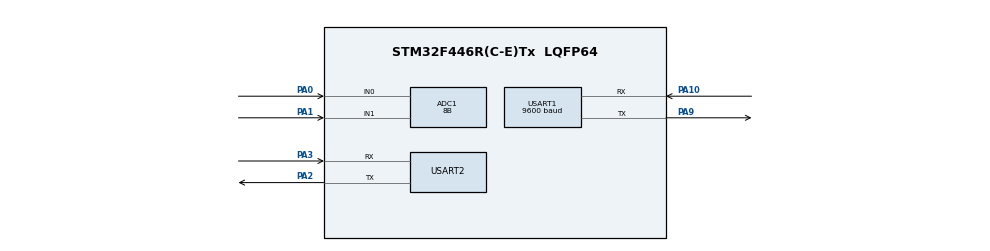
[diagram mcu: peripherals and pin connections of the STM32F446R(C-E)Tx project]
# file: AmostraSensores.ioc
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ADC1.Channel-0\#ChannelRegularConversion=ADC_CHANNEL_0
ADC1.Channel-3\#ChannelRegularConversion=ADC_CHANNEL_1
ADC1.ContinuousConvMode=DISABLE
ADC1.DMAContinuousRequests=ENABLE
ADC1.EOCSelection=ADC_EOC_SEQ_CONV
ADC1.ExternalTrigConv=ADC_SOFTWARE_START
ADC1.NbrOfConversion=2
ADC1.NbrOfConversionFlag=1
ADC1.Rank-0\#ChannelRegularConversion=1
ADC1.Rank-3\#ChannelRegularConversion=2
ADC1.Resolution=ADC_RESOLUTION_8B
ADC1.SamplingTime-0\#ChannelRegularConversion=ADC_SAMPLETIME_3CYCLES
ADC1.SamplingTime-3\#ChannelRegularConversion=ADC_SAMPLETIME_3CYCLES
ADC1.ScanConvMode=ENABLE
ADC1.master=1
Dma.ADC1.0.Direction=DMA_PERIPH_TO_MEMORY
Dma.ADC1.0.FIFOMode=DMA_FIFOMODE_DISABLE
Dma.ADC1.0.Instance=DMA2_Stream0
Dma.ADC1.0.MemDataAlignment=DMA_MDATAALIGN_BYTE
Dma.ADC1.0.MemInc=DMA_MINC_ENABLE
Dma.ADC1.0.Mode=DMA_NORMAL
Dma.ADC1.0.PeriphDataAlignment=DMA_PDATAALIGN_BYTE
Dma.ADC1.0.PeriphInc=DMA_PINC_DISABLE
Dma.ADC1.0.Priority=DMA_PRIORITY_LOW
Dma.Request0=ADC1
Dma.Request1=USART1_RX
Dma.Request2=USART1_TX
Dma.USART1_RX.1.Direction=DMA_PERIPH_TO_MEMORY
Dma.USART1_RX.1.FIFOMode=DMA_FIFOMODE_ENABLE
Dma.USART1_RX.1.FIFOThreshold=DMA_FIFO_THRESHOLD_FULL
Dma.USART1_RX.1.Instance=DMA2_Stream2
Dma.USART1_RX.1.MemBurst=DMA_MBURST_SINGLE
Dma.USART1_RX.1.MemDataAlignment=DMA_MDATAALIGN_BYTE
Dma.USART1_RX.1.MemInc=DMA_MINC_ENABLE
Dma.USART1_RX.1.Mode=DMA_NORMAL
Dma.USART1_RX.1.PeriphBurst=DMA_PBURST_SINGLE
Dma.USART1_RX.1.PeriphDataAlignment=DMA_PDATAALIGN_BYTE
Dma.USART1_RX.1.PeriphInc=DMA_PINC_DISABLE
Dma.USART1_RX.1.Priority=DMA_PRIORITY_LOW
Dma.USART1_TX.2.Direction=DMA_MEMORY_TO_PERIPH
Dma.USART1_TX.2.FIFOMode=DMA_FIFOMODE_ENABLE
Dma.USART1_TX.2.FIFOThreshold=DMA_FIFO_THRESHOLD_FULL
Dma.USART1_TX.2.Instance=DMA2_Stream7
Dma.USART1_TX.2.MemBurst=DMA_MBURST_SINGLE
Dma.USART1_TX.2.MemDataAlignment=DMA_MDATAALIGN_BYTE
Dma.USART1_TX.2.MemInc=DMA_MINC_ENABLE
Dma.USART1_TX.2.Mode=DMA_NORMAL
Dma.USART1_TX.2.PeriphBurst=DMA_PBURST_SINGLE
Dma.USART1_TX.2.PeriphDataAlignment=DMA_PDATAALIGN_BYTE
Dma.USART1_TX.2.PeriphInc=DMA_PINC_DISABLE
Dma.USART1_TX.2.Priority=DMA_PRIORITY_LOW
Mcu.Family=STM32F4
Mcu.Name=STM32F446R(C-E)Tx
Mcu.Package=LQFP64
NVIC.ADC_IRQn=true\:0\:0\:false\:false\:true\:true\:true
NVIC.DMA2_Stream0_IRQn=true\:0\:0\:false\:false\:true\:false\:true
NVIC.DMA2_Stream2_IRQn=true\:0\:0\:false\:false\:true\:false\:true
NVIC.DMA2_Stream7_IRQn=true\:0\:0\:false\:false\:true\:false\:true
NVIC.PriorityGroup=NVIC_PRIORITYGROUP_4
NVIC.TIM1_UP_TIM10_IRQn=true\:0\:0\:false\:false\:true\:true\:true
NVIC.TIM2_IRQn=true\:0\:0\:false\:false\:true\:true\:true
NVIC.USART1_IRQn=true\:0\:0\:false\:false\:true\:true\:true
PA0-WKUP.Signal=ADCx_IN0
PA1.Signal=ADCx_IN1
PA10.Mode=Asynchronous
PA10.Signal=USART1_RX
PA2.Mode=Asynchronous
PA2.Signal=USART2_TX
PA3.Mode=Asynchronous
PA3.Signal=USART2_RX
PA9.Mode=Asynchronous
PA9.Signal=USART1_TX
ProjectManager.HeapSize=0x200
ProjectManager.StackSize=0x400
ProjectManager.TargetToolchain=STM32CubeIDE
RCC.CortexFreq_Value=16000000
RCC.USBFreq_Value=96000000
RCC.VCOOutputFreq_Value=192000000
SH.ADCx_IN0.0=ADC1_IN0,IN0
SH.ADCx_IN1.0=ADC1_IN1,IN1
TIM10.Period=99
TIM10.Prescaler=8399
TIM2.Period=499
TIM2.Prescaler=15999
TIM2.TIM_MasterOutputTrigger=TIM_TRGO_RESET
USART1.BaudRate=9600
USART1.VirtualMode=VM_ASYNC
USART2.VirtualMode=VM_ASYNC
VP_TIM10_VS_ClockSourceINT.Mode=Enable_Timer
VP_TIM2_VS_ClockSourceINT.Mode=Internal
board=custom

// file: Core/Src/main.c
/* USER CODE BEGIN Header */
/**
  ******************************************************************************
  * @file           : main.c
  * @brief          : Main program body
  ******************************************************************************

  */
/* USER CODE END Header */

#include "main.h"
#include "adc.h"
#include "dma.h"
#include "tim.h"
#include "usart.h"
#include "gpio.h"

/* USER CODE BEGIN Includes */
#include <stdio.h>
#include <string.h>
/* USER CODE END Includes */

/* USER CODE BEGIN PD */
#define bufferSize 1
#define SerialTimeOut 10
#define NumberOfConversions 2
#define TAM_MSG 100
/* USER CODE END PD */

/* USER CODE BEGIN PV */
uint8_t pData;
uint8_t adc_values[NumberOfConversions]; //! Vetor para a armazenar o valor convertido do AD para cada respectivo canal
uint32_t msg[TAM_MSG];
/* USER CODE END PV */

void SystemClock_Config(void);

int main(void)
{

  /* MCU Configuration--------------------------------------------------------*/

  /* Reset of all peripherals, Initializes the Flash interface and the Systick. */
  HAL_Init();

  /* Configure the system clock */
  SystemClock_Config();

  /* Initialize all configured peripherals */
  MX_GPIO_Init();
  MX_DMA_Init();
  MX_TIM10_Init();
  MX_USART2_UART_Init();
  MX_ADC1_Init();
  MX_TIM2_Init();
  MX_USART1_UART_Init();
  /* USER CODE BEGIN 2 */
  HAL_TIM_Base_Start_IT(&htim2);
  HAL_UART_Receive_DMA(&huart1, &pData, bufferSize); //! Armazena o dado recebido pela serial
  HAL_ADC_Start_DMA(&hadc1, (uint32_t*)adc_values, NumberOfConversions); //!Inicia a memória DMA para armazenar os valores da sequência de conversão de 3 canais do AD
//  HAL_UART_Transmit(&huart2, &pData, bufferSize, SerialTimeOut);

  /* USER CODE END 2 */

  /* Infinite loop */
  while (1)
  {

  }
}

void SystemClock_Config(void)
{
  RCC_OscInitTypeDef RCC_OscInitStruct = {0};
  RCC_ClkInitTypeDef RCC_ClkInitStruct = {0};

  /** Configure the main internal regulator output voltage
  */
  __HAL_RCC_PWR_CLK_ENABLE();
  __HAL_PWR_VOLTAGESCALING_CONFIG(PWR_REGULATOR_VOLTAGE_SCALE3);
  /** Initializes the CPU, AHB and APB busses clocks
  */
  RCC_OscInitStruct.OscillatorType = RCC_OSCILLATORTYPE_HSI;
  RCC_OscInitStruct.HSIState = RCC_HSI_ON;
  RCC_OscInitStruct.HSICalibrationValue = RCC_HSICALIBRATION_DEFAULT;
  RCC_OscInitStruct.PLL.PLLState = RCC_PLL_NONE;
  if (HAL_RCC_OscConfig(&RCC_OscInitStruct) != HAL_OK)
  {
    Error_Handler();
  }
  /** Initializes the CPU, AHB and APB busses clocks
  */
  RCC_ClkInitStruct.ClockType = RCC_CLOCKTYPE_HCLK|RCC_CLOCKTYPE_SYSCLK
                              |RCC_CLOCKTYPE_PCLK1|RCC_CLOCKTYPE_PCLK2;
  RCC_ClkInitStruct.SYSCLKSource = RCC_SYSCLKSOURCE_HSI;
  RCC_ClkInitStruct.AHBCLKDivider = RCC_SYSCLK_DIV1;
  RCC_ClkInitStruct.APB1CLKDivider = RCC_HCLK_DIV1;
  RCC_ClkInitStruct.APB2CLKDivider = RCC_HCLK_DIV1;

  if (HAL_RCC_ClockConfig(&RCC_ClkInitStruct, FLASH_LATENCY_0) != HAL_OK)
  {
    Error_Handler();
  }
}

/* USER CODE BEGIN 4 */

void HAL_TIM_PeriodElapsedCallback(TIM_HandleTypeDef *htim)
{
	/* Em teoria, os valores de CCR1 ficam na ordem correta da conversão dos canais, o valor convertido é armazenado no vetor e a posicao de memoria eh incrementada a cada leitura*/
	// HAL_ADC_Start_DMA(ADC_HandleTypeDef* hadc, uint32_t* pData, uint32_t Length);

	if(htim->Instance == TIM2)
	HAL_ADC_Start_DMA(&hadc1, (uint32_t*)adc_values, NumberOfConversions); //!Inicia a memória DMA para armazenar os valores da sequência de conversão de 3 canais do AD

}
void HAL_UART_RxCpltCallback(UART_HandleTypeDef *huart)
{
	if(huart->Instance == USART1)
	{
		//HAL_UART_Receive_IT(&huart1, &pData, bufferSize); //! Armazena o dado recebido pela serial
		if(pData == 'r')
		{
			snprintf(msg,TAM_MSG,"{\"umidade\": \"%lu\", \"luminosidade\": \"%lu\"}",adc_values[0],adc_values[1]);
			HAL_UART_Transmit_DMA(&huart1, (uint8_t*)msg, strlen(msg));
			pData = 0;
		}

		HAL_UART_Receive_DMA(&huart1, &pData, bufferSize); //! Armazena o dado recebido pela serial
	}

}

/* USER CODE END 4 */

void Error_Handler(void)
{
}

/************************ (C) COPYRIGHT STMicroelectronics *****END OF FILE****/
